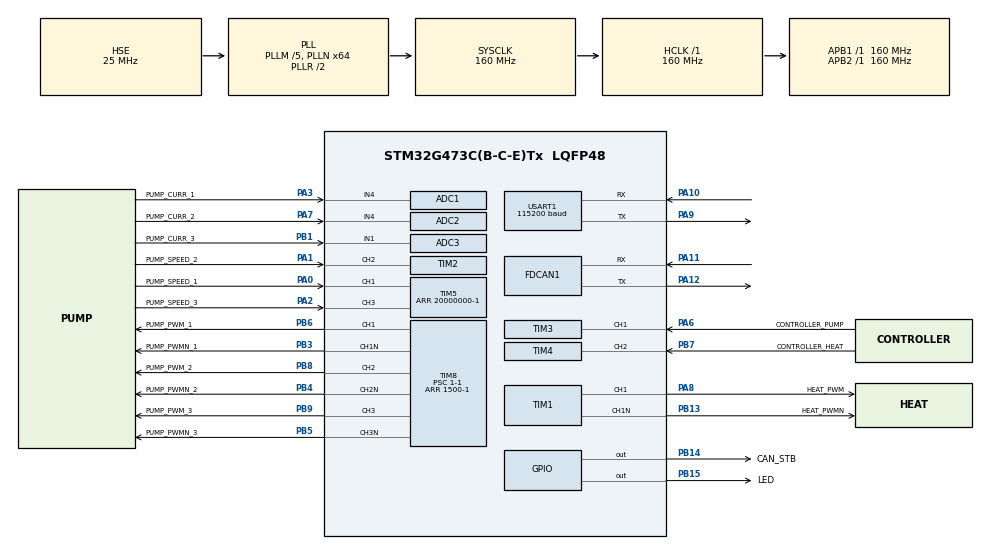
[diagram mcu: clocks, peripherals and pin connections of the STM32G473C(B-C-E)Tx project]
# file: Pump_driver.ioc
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ADC1.Channel-3\#ChannelRegularConversion=ADC_CHANNEL_TEMPSENSOR_ADC1
ADC1.EOCSelection=ADC_EOC_SINGLE_CONV
ADC1.EnableInjectedConversion=ENABLE
ADC1.ExternalTrigInjecConv=ADC_EXTERNALTRIGINJEC_T1_TRGO
ADC1.InjNumberOfConversion=4
ADC1.InjectedChannel-4\#ChannelInjectedConversion=ADC_CHANNEL_4
ADC1.InjectedChannel-5\#ChannelInjectedConversion=ADC_CHANNEL_4
ADC1.InjectedChannel-6\#ChannelInjectedConversion=ADC_CHANNEL_4
ADC1.InjectedChannel-7\#ChannelInjectedConversion=ADC_CHANNEL_4
ADC1.InjectedOffsetNumber-4\#ChannelInjectedConversion=ADC_OFFSET_NONE
ADC1.InjectedOffsetNumber-5\#ChannelInjectedConversion=ADC_OFFSET_NONE
ADC1.InjectedOffsetNumber-6\#ChannelInjectedConversion=ADC_OFFSET_NONE
ADC1.InjectedOffsetNumber-7\#ChannelInjectedConversion=ADC_OFFSET_NONE
ADC1.InjectedRank-4\#ChannelInjectedConversion=1
ADC1.InjectedRank-5\#ChannelInjectedConversion=2
ADC1.InjectedRank-6\#ChannelInjectedConversion=3
ADC1.InjectedRank-7\#ChannelInjectedConversion=4
ADC1.InjectedSamplingTime-4\#ChannelInjectedConversion=ADC_SAMPLETIME_2CYCLES_5
ADC1.InjectedSamplingTime-5\#ChannelInjectedConversion=ADC_SAMPLETIME_2CYCLES_5
ADC1.InjectedSamplingTime-6\#ChannelInjectedConversion=ADC_SAMPLETIME_2CYCLES_5
ADC1.InjectedSamplingTime-7\#ChannelInjectedConversion=ADC_SAMPLETIME_2CYCLES_5
ADC1.Mode=ADC_MODE_INDEPENDENT
ADC1.NbrOfConversion=1
ADC1.NbrOfConversionFlag=1
ADC1.OffsetNumber-3\#ChannelRegularConversion=ADC_OFFSET_NONE
ADC1.Rank-3\#ChannelRegularConversion=1
ADC1.Rank1_Channel=ADC_CHANNEL_4
ADC1.Rank2_Channel=ADC_CHANNEL_4
ADC1.Rank3_Channel=ADC_CHANNEL_4
ADC1.Rank4_Channel=ADC_CHANNEL_4
ADC1.Resolution=ADC_RESOLUTION_12B
ADC1.SamplingTime-3\#ChannelRegularConversion=ADC_SAMPLETIME_2CYCLES_5
ADC1.master=1
ADC2.Channel-0\#ChannelRegularConversion=ADC_CHANNEL_4
ADC2.NbrOfConversionFlag=1
ADC2.OffsetNumber-0\#ChannelRegularConversion=ADC_OFFSET_NONE
ADC2.Rank-0\#ChannelRegularConversion=1
ADC2.SamplingTime-0\#ChannelRegularConversion=ADC_SAMPLETIME_2CYCLES_5
ADC3.Channel-0\#ChannelRegularConversion=ADC_CHANNEL_1
ADC3.NbrOfConversionFlag=1
ADC3.OffsetNumber-0\#ChannelRegularConversion=ADC_OFFSET_NONE
ADC3.Rank-0\#ChannelRegularConversion=1
ADC3.SamplingTime-0\#ChannelRegularConversion=ADC_SAMPLETIME_2CYCLES_5
ADC3.master=1
FDCAN1.CalculateBaudRateNominal=800000
FDCAN1.CalculateTimeBitNominal=1250
FDCAN1.CalculateTimeQuantumNominal=125.0
FDCAN1.ExtFiltersNbr=1
FDCAN1.FrameFormat=FDCAN_FRAME_CLASSIC
FDCAN1.Mode=FDCAN_MODE_EXTERNAL_LOOPBACK
FDCAN1.NominalPrescaler=20
FDCAN1.NominalTimeSeg1=8
FDCAN1.NominalTimeSeg2=1
FDCAN1.StdFiltersNbr=1
FDCAN1.TransmitPause=DISABLE
Mcu.Family=STM32G4
Mcu.Name=STM32G473C(B-C-E)Tx
Mcu.Package=LQFP48
NVIC.FDCAN1_IT0_IRQn=true\:0\:0\:false\:false\:true\:true\:true\:true
NVIC.PriorityGroup=NVIC_PRIORITYGROUP_4
NVIC.TIM2_IRQn=true\:0\:0\:false\:false\:true\:true\:true\:true
NVIC.TIM5_IRQn=true\:0\:0\:false\:false\:true\:true\:true\:true
NVIC.TIM6_DAC_IRQn=true\:0\:0\:false\:false\:true\:true\:true\:true
NVIC.USART1_IRQn=true\:0\:0\:false\:false\:true\:true\:true\:true
PA0.GPIO_Label=PUMP_SPEED_1
PA0.Signal=S_TIM5_CH1
PA1.GPIO_Label=PUMP_SPEED_2
PA1.Signal=S_TIM2_CH2
PA10.Mode=Asynchronous
PA10.Signal=USART1_RX
PA11.Mode=FDCAN_Activate
PA11.Signal=FDCAN1_RX
PA12.Mode=FDCAN_Activate
PA12.Signal=FDCAN1_TX
PA13.Mode=Serial_Wire
PA13.Signal=SYS_JTMS-SWDIO
PA14.Mode=Serial_Wire
PA14.Signal=SYS_JTCK-SWCLK
PA2.GPIO_Label=PUMP_SPEED_3
PA2.Signal=S_TIM5_CH3
PA3.GPIO_Label=PUMP_CURR_1
PA3.Mode=IN4-Single-Ended
PA3.Signal=ADC1_IN4
PA6.GPIO_Label=CONTROLLER_PUMP
PA6.Signal=S_TIM3_CH1
PA7.GPIO_Label=PUMP_CURR_2
PA7.Mode=IN4-Single-Ended
PA7.Signal=ADC2_IN4
PA8.GPIO_Label=HEAT_PWM
PA8.Signal=S_TIM1_CH1
PA9.Mode=Asynchronous
PA9.Signal=USART1_TX
PB1.GPIO_Label=PUMP_CURR_3
PB1.Mode=IN1-Single-Ended
PB1.Signal=ADC3_IN1
PB13.GPIO_Label=HEAT_PWMN
PB13.Mode=PWM Generation1 CH1 CH1N
PB13.Signal=TIM1_CH1N
PB14.GPIO_Label=CAN_STB
PB14.Signal=GPIO_Output
PB15.GPIO_Label=LED
PB15.Signal=GPIO_Output
PB3.GPIO_Label=PUMP_PWMN_1
PB3.GPIO_PuPd=GPIO_PULLDOWN
PB3.Mode=PWM Generation1 CH1 CH1N
PB3.Signal=TIM8_CH1N
PB4.GPIO_Label=PUMP_PWMN_2
PB4.GPIO_PuPd=GPIO_PULLDOWN
PB4.Mode=PWM Generation2 CH2 CH2N
PB4.Signal=TIM8_CH2N
PB5.GPIO_Label=PUMP_PWMN_3
PB5.GPIO_PuPd=GPIO_PULLDOWN
PB5.Mode=PWM Generation3 CH3 CH3N
PB5.Signal=TIM8_CH3N
PB6.GPIO_Label=PUMP_PWM_1
PB6.GPIO_PuPd=GPIO_PULLDOWN
PB6.Signal=S_TIM8_CH1
PB7.GPIO_Label=CONTROLLER_HEAT
PB7.Signal=S_TIM4_CH2
PB8-BOOT0.GPIO_Label=PUMP_PWM_2
PB8-BOOT0.GPIO_PuPd=GPIO_PULLDOWN
PB8-BOOT0.Signal=S_TIM8_CH2
PB9.GPIO_Label=PUMP_PWM_3
PB9.GPIO_PuPd=GPIO_PULLDOWN
PB9.Signal=S_TIM8_CH3
PF0-OSC_IN.Mode=HSE-External-Oscillator
PF0-OSC_IN.Signal=RCC_OSC_IN
PF1-OSC_OUT.Mode=HSE-External-Oscillator
PF1-OSC_OUT.Signal=RCC_OSC_OUT
ProjectManager.HeapSize=0x200
ProjectManager.StackSize=0x400
ProjectManager.TargetToolchain=STM32CubeIDE
RCC.ADC12Freq_Value=160000000
RCC.ADC345Freq_Value=160000000
RCC.AHBFreq_Value=160000000
RCC.APB1Freq_Value=160000000
RCC.APB1TimFreq_Value=160000000
RCC.APB2Freq_Value=160000000
RCC.APB2TimFreq_Value=160000000
RCC.CortexFreq_Value=160000000
RCC.EXTERNAL_CLOCK_VALUE=12288000
RCC.HCLKFreq_Value=160000000
RCC.HSE_VALUE=25000000
RCC.HSI48_VALUE=48000000
RCC.HSI_VALUE=16000000
RCC.LSE_VALUE=32768
RCC.PLLM=RCC_PLLM_DIV5
RCC.PLLN=64
RCC.PLLSourceVirtual=RCC_PLLSOURCE_HSE
RCC.SYSCLKFreq_VALUE=160000000
RCC.SYSCLKSource=RCC_SYSCLKSOURCE_PLLCLK
RCC.USBFreq_Value=160000000
RCC.VCOOutputFreq_Value=320000000
SH.S_TIM1_CH1.0=TIM1_CH1,PWM Generation1 CH1 CH1N
SH.S_TIM2_CH2.0=TIM2_CH2,Input_Capture2_from_TI2
SH.S_TIM3_CH1.0=TIM3_CH1,Input_Capture1_from_TI1
SH.S_TIM4_CH2.0=TIM4_CH2,Input_Capture2_from_TI2
SH.S_TIM5_CH1.0=TIM5_CH1,Input_Capture1_from_TI1
SH.S_TIM5_CH3.0=TIM5_CH3,Input_Capture3_from_TI3
SH.S_TIM8_CH1.0=TIM8_CH1,PWM Generation1 CH1 CH1N
SH.S_TIM8_CH2.0=TIM8_CH2,PWM Generation2 CH2 CH2N
SH.S_TIM8_CH3.0=TIM8_CH3,PWM Generation3 CH3 CH3N
TIM1.AsymmetricalDeadTime=DISABLE
TIM1.Channel-PWM\ Generation1\ CH1\ CH1N=TIM_CHANNEL_1
TIM2.Channel-Input_Capture1_from_TI2_63=TIM_CHANNEL_1
TIM2.Channel-Input_Capture2_from_TI2=TIM_CHANNEL_2
TIM2.ICFilter_CH2=15
TIM2.ICPolarity_CH1=TIM_INPUTCHANNELPOLARITY_FALLING
TIM2.ICPolarity_CH2=TIM_INPUTCHANNELPOLARITY_RISING
TIM2.PeriodNoDither=40000000-1
TIM3.Channel-Input_Capture1_from_TI1=TIM_CHANNEL_1
TIM3.Channel-Input_Capture2_from_TI1_63=TIM_CHANNEL_2
TIM3.ICPolarity_CH2=TIM_INPUTCHANNELPOLARITY_FALLING
TIM4.Channel-Input_Capture1_from_TI2_63=TIM_CHANNEL_1
TIM4.Channel-Input_Capture2_from_TI2=TIM_CHANNEL_2
TIM4.ICPolarity_CH1=TIM_INPUTCHANNELPOLARITY_FALLING
TIM5.Channel-Input_Capture1_from_TI1=TIM_CHANNEL_1
TIM5.Channel-Input_Capture2_from_TI1_63=TIM_CHANNEL_2
TIM5.Channel-Input_Capture3_from_TI3=TIM_CHANNEL_3
TIM5.Channel-Input_Capture4_from_TI3_63=TIM_CHANNEL_4
TIM5.ClockDivision=TIM_CLOCKDIVISION_DIV1
TIM5.Dithering=Disable
TIM5.ICFilter_CH1=15
TIM5.ICFilter_CH3=15
TIM5.ICPolarity_CH1=TIM_INPUTCHANNELPOLARITY_RISING
TIM5.ICPolarity_CH2=TIM_INPUTCHANNELPOLARITY_FALLING
TIM5.ICPolarity_CH3=TIM_INPUTCHANNELPOLARITY_RISING
TIM5.ICPolarity_CH4=TIM_INPUTCHANNELPOLARITY_FALLING
TIM5.PeriodNoDither=20000000-1
TIM6.PeriodNoDither=60000-1
TIM6.Prescaler=100-1
TIM8.Channel-PWM\ Generation1\ CH1\ CH1N=TIM_CHANNEL_1
TIM8.Channel-PWM\ Generation2\ CH2\ CH2N=TIM_CHANNEL_2
TIM8.Channel-PWM\ Generation3\ CH3\ CH3N=TIM_CHANNEL_3
TIM8.ClockDivision=TIM_CLOCKDIVISION_DIV1
TIM8.CounterMode=TIM_COUNTERMODE_UP
TIM8.DeadTime=60
TIM8.OCPolarity_2=TIM_OCPOLARITY_HIGH
TIM8.PeriodNoDither=1500-1
TIM8.Prescaler=1-1
TIM8.PulseNoDither_1=0
TIM8.PulseNoDither_2=0
TIM8.PulseNoDither_3=0
USART1.BaudRate=115200
USART1.Parity=PARITY_NONE
USART1.VirtualMode-Asynchronous=VM_ASYNC
USART1.WordLength=WORDLENGTH_8B
VP_ADC1_TempSens_Input.Mode=IN-TempSens
VP_IWDG_VS_IWDG.Mode=IWDG_Activate
VP_SYS_VS_DBSignals.Mode=DisableDeadBatterySignals
VP_TIM2_VS_indirect_ch2.Mode=Input_Capture1_from_TI2_63
VP_TIM3_VS_indirect_ch1.Mode=Input_Capture2_from_TI1_63
VP_TIM4_VS_indirect_ch2.Mode=Input_Capture1_from_TI2_63
VP_TIM5_VS_ClockSourceINT.Mode=Internal
VP_TIM5_VS_indirect_ch1.Mode=Input_Capture2_from_TI1_63
VP_TIM5_VS_indirect_ch3.Mode=Input_Capture4_from_TI3_63
VP_TIM6_VS_ClockSourceINT.Mode=Enable_Timer
VP_TIM8_VS_ClockSourceINT.Mode=Internal
board=custom

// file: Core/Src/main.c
/* USER CODE BEGIN Header */
/**
 ******************************************************************************
 * @file           : main.c
 * @brief          : Main program body
 ******************************************************************************
 * @attention
 *
 * Copyright (c) 2026 STMicroelectronics.
 * All rights reserved.
 *
 * This software is licensed under terms that can be found in the LICENSE file
 * in the root directory of this software component.
 * If no LICENSE file comes with this software, it is provided AS-IS.
 *
 ******************************************************************************
 */
/* USER CODE END Header */
#include "main.h"
#include "adc.h"
#include "fdcan.h"
#include "iwdg.h"
#include "tim.h"
#include "usart.h"
#include "gpio.h"

/* USER CODE BEGIN Includes */
#include "CAN_protocol/can_protocol.h"
#include "BLDC/bldc.h"
#include <stdio.h>
#include "LowPassFilter/lowpassfilter.h"
#include "PID/PID.h"
/* USER CODE END Includes */

/* USER CODE BEGIN PV */
extern lpfilter_t pumpfilter;
bldc_t pump = {
        .pwmtim = &htim8,
        .ictim1 = &htim5,
        .ictim2 = &htim2,
        .statetim = &htim6,
        .pole_number = 7,
        .pwm_CCER_ch1 = (TIM_CCER_CC1E | TIM_CCER_CC1NE),
        .pwm_CCER_ch2 = (TIM_CCER_CC2E | TIM_CCER_CC2NE),
        .pwm_CCER_ch3 = (TIM_CCER_CC3E | TIM_CCER_CC3NE)
};

PID_controller_t pumppid = {
        .kp = 0.000000030,
        .ki = 0.00000000,
        .kd = 0.00000000,
        .integral = 0,
        .preverr = 0,
        .out = 0
};

/* USER CODE END PV */

void SystemClock_Config(void);
/* USER CODE BEGIN PFP */
void HeartbeatLED_Update();
/* USER CODE END PFP */

int main(void)
{

  /* MCU Configuration--------------------------------------------------------*/

  /* Reset of all peripherals, Initializes the Flash interface and the Systick. */
  HAL_Init();

  /* Configure the system clock */
  SystemClock_Config();

  /* Initialize all configured peripherals */
  MX_GPIO_Init();
  MX_FDCAN1_Init();
  MX_TIM1_Init();
  MX_TIM3_Init();
  MX_TIM4_Init();
  MX_TIM5_Init();
  MX_TIM8_Init();
  MX_USART1_UART_Init();
  MX_ADC1_Init();
  MX_ADC2_Init();
  MX_ADC3_Init();
  MX_IWDG_Init();
  MX_TIM6_Init();
  MX_TIM2_Init();
  /* USER CODE BEGIN 2 */
    LPF_init(&pumpfilter, BLACKMAN);
    pump.control_mode = START;
  /* USER CODE END 2 */

  /* Infinite loop */
  /* USER CODE BEGIN WHILE */
    while(1)
    {
        BLDC_Execute(&pump);
        HAL_IWDG_Refresh(&hiwdg);
        HeartbeatLED_Update();
    /* USER CODE END WHILE */

    }
}

void SystemClock_Config(void)
{
  RCC_OscInitTypeDef RCC_OscInitStruct = {0};
  RCC_ClkInitTypeDef RCC_ClkInitStruct = {0};

  /** Configure the main internal regulator output voltage
  */
  HAL_PWREx_ControlVoltageScaling(PWR_REGULATOR_VOLTAGE_SCALE1_BOOST);

  /** Initializes the RCC Oscillators according to the specified parameters
  * in the RCC_OscInitTypeDef structure.
  */
  RCC_OscInitStruct.OscillatorType = RCC_OSCILLATORTYPE_LSI|RCC_OSCILLATORTYPE_HSE;
  RCC_OscInitStruct.HSEState = RCC_HSE_ON;
  RCC_OscInitStruct.LSIState = RCC_LSI_ON;
  RCC_OscInitStruct.PLL.PLLState = RCC_PLL_ON;
  RCC_OscInitStruct.PLL.PLLSource = RCC_PLLSOURCE_HSE;
  RCC_OscInitStruct.PLL.PLLM = RCC_PLLM_DIV5;
  RCC_OscInitStruct.PLL.PLLN = 64;
  RCC_OscInitStruct.PLL.PLLP = RCC_PLLP_DIV2;
  RCC_OscInitStruct.PLL.PLLQ = RCC_PLLQ_DIV2;
  RCC_OscInitStruct.PLL.PLLR = RCC_PLLR_DIV2;
  if (HAL_RCC_OscConfig(&RCC_OscInitStruct) != HAL_OK)
  {
    Error_Handler();
  }

  /** Initializes the CPU, AHB and APB buses clocks
  */
  RCC_ClkInitStruct.ClockType = RCC_CLOCKTYPE_HCLK|RCC_CLOCKTYPE_SYSCLK
                              |RCC_CLOCKTYPE_PCLK1|RCC_CLOCKTYPE_PCLK2;
  RCC_ClkInitStruct.SYSCLKSource = RCC_SYSCLKSOURCE_PLLCLK;
  RCC_ClkInitStruct.AHBCLKDivider = RCC_SYSCLK_DIV1;
  RCC_ClkInitStruct.APB1CLKDivider = RCC_HCLK_DIV1;
  RCC_ClkInitStruct.APB2CLKDivider = RCC_HCLK_DIV1;

  if (HAL_RCC_ClockConfig(&RCC_ClkInitStruct, FLASH_LATENCY_4) != HAL_OK)
  {
    Error_Handler();
  }
}

/* USER CODE BEGIN 4 */
void HeartbeatLED_Update()
{
    static uint32_t tickcounter = 0, tickdelta = 500;

    if (tickcounter + tickdelta < HAL_GetTick())
    {
        HAL_GPIO_TogglePin(LED_GPIO_Port, LED_Pin);
        tickcounter += tickdelta;
    }
}
/* USER CODE END 4 */

void Error_Handler(void)
{
    __disable_irq();
    while(1)
    {
    }
}
